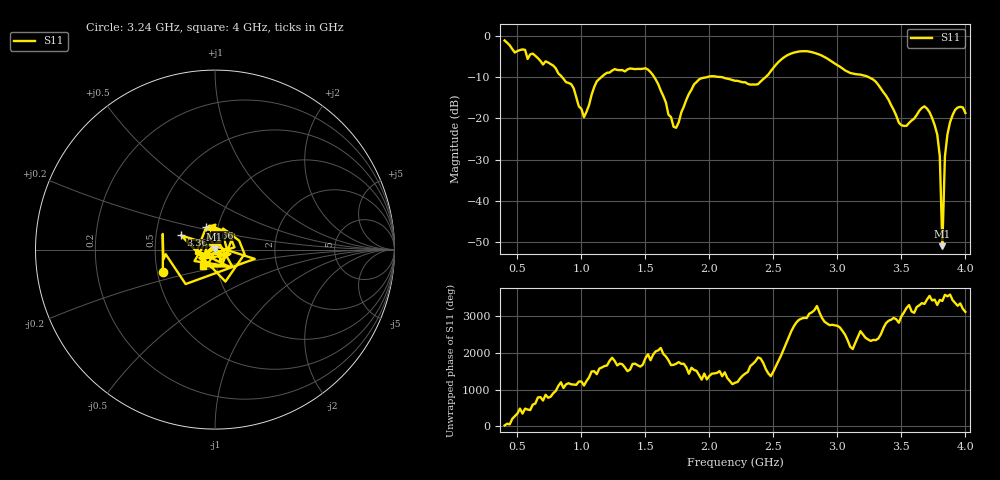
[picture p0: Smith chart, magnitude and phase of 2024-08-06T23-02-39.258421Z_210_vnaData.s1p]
!Created with skrf (http://scikit-rf.org).
# Hz S RI R 50.0
!freq ReS11 ImS11
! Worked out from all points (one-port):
!   181 points, 400 MHz to 4 GHz, reference 50 ohm
!   lowest |S11| = -51.0 dB at 3.82 GHz (marker M1), VSWR 1.01, Z = 49.7 + j0.0583 ohm
!   |S11| at or under -10 dB: 1.568 GHz to 1.989 GHz (421.5 MHz wide, 23.7 % of centre); 2.067 GHz to 2.442 GHz (374.7 MHz wide, 16.6 % of centre); 3.24 GHz to end of sweep (the widest 3 of 4)
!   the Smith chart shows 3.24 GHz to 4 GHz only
!   S11 on the Smith chart (normalised r, x): 3.24 GHz: 0.54, -0.15; 3.36 GHz: 0.67, +0.11; 3.66 GHz: 0.88, +0.22; 4 GHz: 0.86, -0.16
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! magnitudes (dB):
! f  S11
! 400 MHz  -1.2
! 860 MHz  -10.5
! 940 MHz  -12.8
! 1.02 GHz  -19.8
! 1.12 GHz  -11.1
! 1.3 GHz  -8.4
! 1.52 GHz  -8.2
! 1.6 GHz  -11.8
! 1.72 GHz  -22.1
! 1.76 GHz  -21.0
! 1.92 GHz  -10.6
! 2.2 GHz  -10.9
! 2.38 GHz  -11.8
! 2.66 GHz  -4.1
! 3.1 GHz  -9.1
! 3.24 GHz  -10.0
! 3.36 GHz  -13.8
! 3.48 GHz  -21.1
! 3.56 GHz  -21.1
! 3.66 GHz  -17.5
! 3.72 GHz  -18.6
! 3.78 GHz  -23.9
! 3.8 GHz  -29.1
! 3.82 GHz  -51.0
! 3.84 GHz  -29.3
! 3.86 GHz  -23.9
! 3.92 GHz  -18.0
! 4 GHz  -18.7
